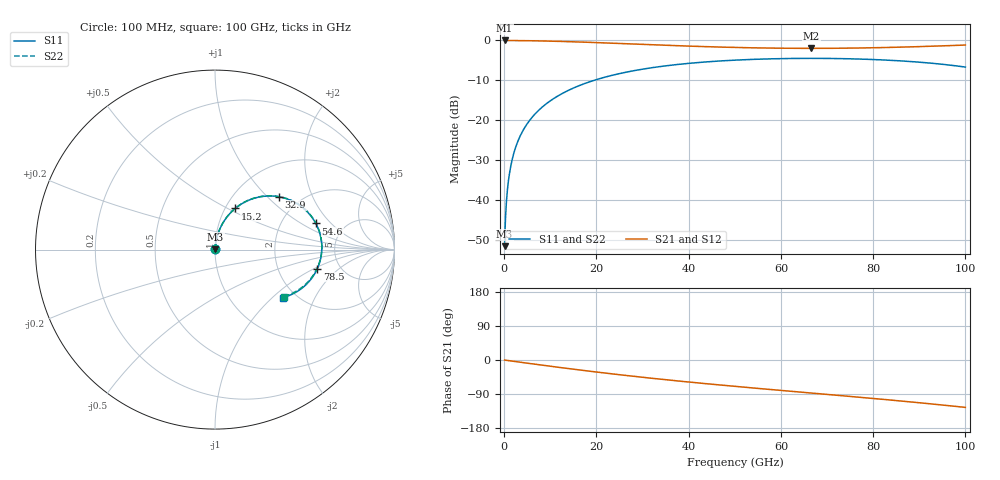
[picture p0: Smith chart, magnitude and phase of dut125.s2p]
! Touchstone file exported from HFSS 2026.1.0
!  File:  C:/ffzhzh/LocalFiles/Ansys_Project_Files/temp_train_RDL_125_1783499498_9504.aedt
!  Generated:  04:32:52 PM Jul  8, 2026
!  Design:  RDL
!  Project:  temp_train_RDL_125_1783499498_9504
! Variables:
!  h_bsmrdl = 2um
!  h_ox = 20um
!  h_rdl = 5um
!  h_sub = 80um
!  h_tmrdl = 4.2um
!  h_tsv = 80um
!  h_via = 3um
!  l_bsmrdl = 300um
!  l_sub = 821.44um
!  l_tmrdl = 421.44um
!  m_sub = 200um
!  pitch = 56.34um
!  r_tsv = 6um
!  s_tmrdl = 10um
!  w_bsmrdl = 18um
!  w_sub = 500um
!  w_tmrdl = 22.49um
!  x_tsv_center1 = 432.685um
!  x_tsv_center2 = 750.685um
!  x_tsv_center3 = 1194.615um
!  x_tsv_center4 = 1512.615um
!  x_tsv_center5 = 1956.545um
!  x_tsv_center6 = 2274.545um
# GHz S MA R 50.000000
! Terminal data exported
! Port[1] = TM_RDL1_1_T1
! Port[2] = TM_RDL1_1_T2
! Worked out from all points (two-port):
!   1000 points, 100 MHz to 100 GHz, reference 50 ohm
!   highest |S21| = -0.02 dB at 100 MHz (marker M1); lowest = -2.0 dB at 66.6 GHz (marker M2)
!   |S21| within 3 dB of the highest: start of sweep to end of sweep
!   lowest |S11| = -51.6 dB at 100 MHz (marker M3), VSWR 1.01, Z = 50.2 + j0.198 ohm
!   |S11| at or under -10 dB: start of sweep to 19.52 GHz
!   |S22| runs from -51.6 to -4.5 dB; largest |S21 - S12| = 1.5e-14
!   S11 on the Smith chart (normalised r, x): 100 MHz: 1.00, +0.00; 15.2 GHz: 1.11, +0.55; 32.9 GHz: 1.57, +1.18; 54.6 GHz: 3.11, +1.37; 78.5 GHz: 3.39, -1.08; 100 GHz: 1.71, -1.17
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0.1  0.002642 48.4  0.9982 -0.2  0.9982 -0.2  0.002642 48.4
! Gamma 0 0 0 0
! Port Impedance 50 0 50 0
0.8  0.01506 80.4  0.9977 -1.4  0.9977 -1.4  0.01506 80.4
1  0.01869 81.5  0.9976 -1.7  0.9976 -1.7  0.01868 81.5
1.3  0.02414 82.3  0.9974 -2.2  0.9974 -2.2  0.02414 82.3
1.7  0.03142 82.7  0.9971 -2.9  0.9971 -2.9  0.03142 82.7
2.3  0.04231 82.6  0.9965 -3.9  0.9965 -3.9  0.04231 82.6
3.6  0.06568 81.2  0.9947 -6.1  0.9947 -6.1  0.06568 81.2
5.5  0.09913 78.4  0.991 -9.2  0.991 -9.2  0.09912 78.5
8.1  0.1435 74.5  0.9845 -13.4  0.9845 -13.4  0.1435 74.6
11.3  0.1958 69.7  0.9745 -18.5  0.9745 -18.5  0.1958 69.7
15.2  0.2556 63.8  0.9598 -24.6  0.9598 -24.6  0.2556 63.9
16.8  0.2788 61.5  0.9531 -27.0  0.9531 -27.0  0.2788 61.6
24  0.3722 51.2  0.92 -37.4  0.92 -37.4  0.3721 51.4
32.9  0.4624 39.5  0.878 -49.4  0.878 -49.4  0.4624 39.8
33.4  0.4667 38.9  0.8758 -50.0  0.8758 -50.0  0.4667 39.1
50.1  0.566 19.4  0.8158 -69.6  0.8158 -69.6  0.566 19.8
54.6  0.5802 14.6  0.8059 -74.5  0.8059 -74.5  0.5801 15.0
66.6  0.5957 2.0  0.7948 -87.2  0.7948 -87.2  0.5956 2.6
66.7  0.5957 1.9  0.7948 -87.3  0.7948 -87.3  0.5956 2.5
78.5  0.5802 -10.5  0.8055 -99.8  0.8055 -99.8  0.5801 -9.8
83.4  0.5644 -15.8  0.8161 -105.2  0.8161 -105.2  0.5643 -15.1
100  0.4631 -35.3  0.8747 -125.1  0.8747 -125.1  0.463 -34.4
